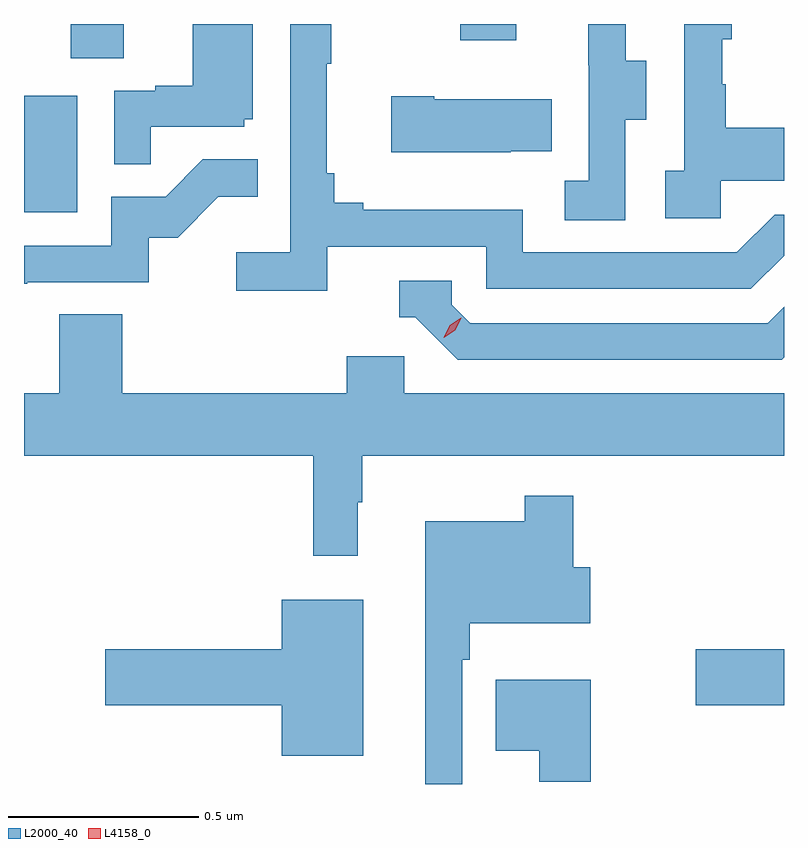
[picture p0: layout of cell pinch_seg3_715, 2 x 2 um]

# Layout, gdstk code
import gdstk
lib = gdstk.Library(unit=1e-6, precision=1e-09)
def R(c, l, rs):  # rectangles x0, y0, x1, y1
    for r in rs: c.add(gdstk.rectangle(r[:2], r[2:], *l))
def P(c, l, *ps):  # polygons
    for p in ps: c.add(gdstk.Polygon(p, *l))
L2000_40 = (2000, 40)
L4158_0 = (4158, 0)

pinch_seg3_715 = lib.new_cell('pinch_seg3_715')
R(pinch_seg3_715, L2000_40, [(1128.594,681.611,1128.826,681.758), (1126.826,682.908,1126.966,683.215), (1126.949,683.314,1127.089,683.404), (1127.974,683.361,1128.121,683.404)])
P(pinch_seg3_715, L2000_40, [(1128.66,682.991),(1128.826,682.991),(1128.826,683.131),(1128.673,683.131),(1128.673,683.246),(1128.663,683.246),(1128.663,683.364),(1128.688,683.364),(1128.688,683.404),(1128.564,683.404),(1128.564,683.018),(1128.513,683.018),(1128.513,682.893),(1128.66,682.893)],
  [(1127.624,682.818),(1128.042,682.818),(1128.042,682.707),(1128.739,682.707),(1128.826,682.794),(1128.826,682.902),(1128.801,682.902),(1128.702,682.803),(1128.138,682.803),(1128.138,682.915),(1127.719,682.915),(1127.719,682.934),(1127.642,682.934),(1127.642,683.011),(1127.623,683.011),(1127.623,683.299),(1127.635,683.299),(1127.635,683.404),(1127.526,683.404),(1127.526,682.804),(1127.385,682.804),(1127.385,682.702),(1127.624,682.702)],
  [(1127.159,683.133),(1127.406,683.133),(1127.406,683.154),(1127.428,683.154),(1127.428,683.404),(1127.27,683.404),(1127.27,683.242),(1127.171,683.242),(1127.171,683.229),(1127.064,683.229),(1127.064,683.035),(1127.159,683.035)],
  [(1128.408,683.152),(1128.463,683.152),(1128.463,683.307),(1128.409,683.307),(1128.409,683.404),(1128.311,683.404),(1128.311,683.295),(1128.312,683.295),(1128.312,682.991),(1128.249,682.991),(1128.249,682.888),(1128.408,682.888)],
  [(1128.107,683.069),(1128.215,683.069),(1128.215,683.206),(1127.905,683.206),(1127.905,683.214),(1127.793,683.214),(1127.793,683.066),(1128.107,683.066)],
  [(1126.835,682.725),(1127.154,682.725),(1127.154,682.842),(1127.23,682.842),(1127.337,682.949),(1127.441,682.949),(1127.441,683.048),(1127.297,683.048),(1127.199,682.95),(1127.055,682.95),(1127.055,682.821),(1126.826,682.821),(1126.826,682.72),(1126.835,682.72)],
  [(1128.826,682.527),(1128.826,682.66),(1128.783,682.617),(1128,682.617),(1127.952,682.665),(1127.952,682.728),(1127.813,682.728),(1127.813,682.632),(1127.856,682.632),(1127.967,682.521),(1128.82,682.521)],
  [(1127.704,682.145),(1127.716,682.145),(1127.716,682.268),(1128.826,682.268),(1128.826,682.432),(1127.826,682.432),(1127.826,682.53),(1127.675,682.53),(1127.675,682.432),(1127.084,682.432),(1127.084,682.64),(1126.919,682.64),(1126.919,682.432),(1126.826,682.432),(1126.826,682.268),(1127.587,682.268),(1127.587,682.005),(1127.704,682.005)],
  [(1127.979,681.731),(1127.999,681.731),(1127.999,681.827),(1128.316,681.827),(1128.316,681.975),(1128.272,681.975),(1128.272,682.162),(1128.144,682.162),(1128.144,682.096),(1127.882,682.096),(1127.882,681.404),(1127.979,681.404)],
  [(1127.719,681.889),(1127.504,681.889),(1127.504,681.758),(1127.04,681.758),(1127.04,681.611),(1127.504,681.611),(1127.504,681.479),(1127.719,681.479)],
  [(1128.317,681.679),(1128.068,681.679),(1128.068,681.491),(1128.182,681.491),(1128.182,681.41),(1128.317,681.41)])
P(pinch_seg3_715, L4158_0, [(1127.93,682.578),(1127.93,682.578),(1127.946,682.611),(1127.977,682.631),(1127.977,682.631),(1127.977,682.63),(1127.961,682.598),(1127.93,682.578)])

lib.write_gds('pinch_seg3_715.gds')
